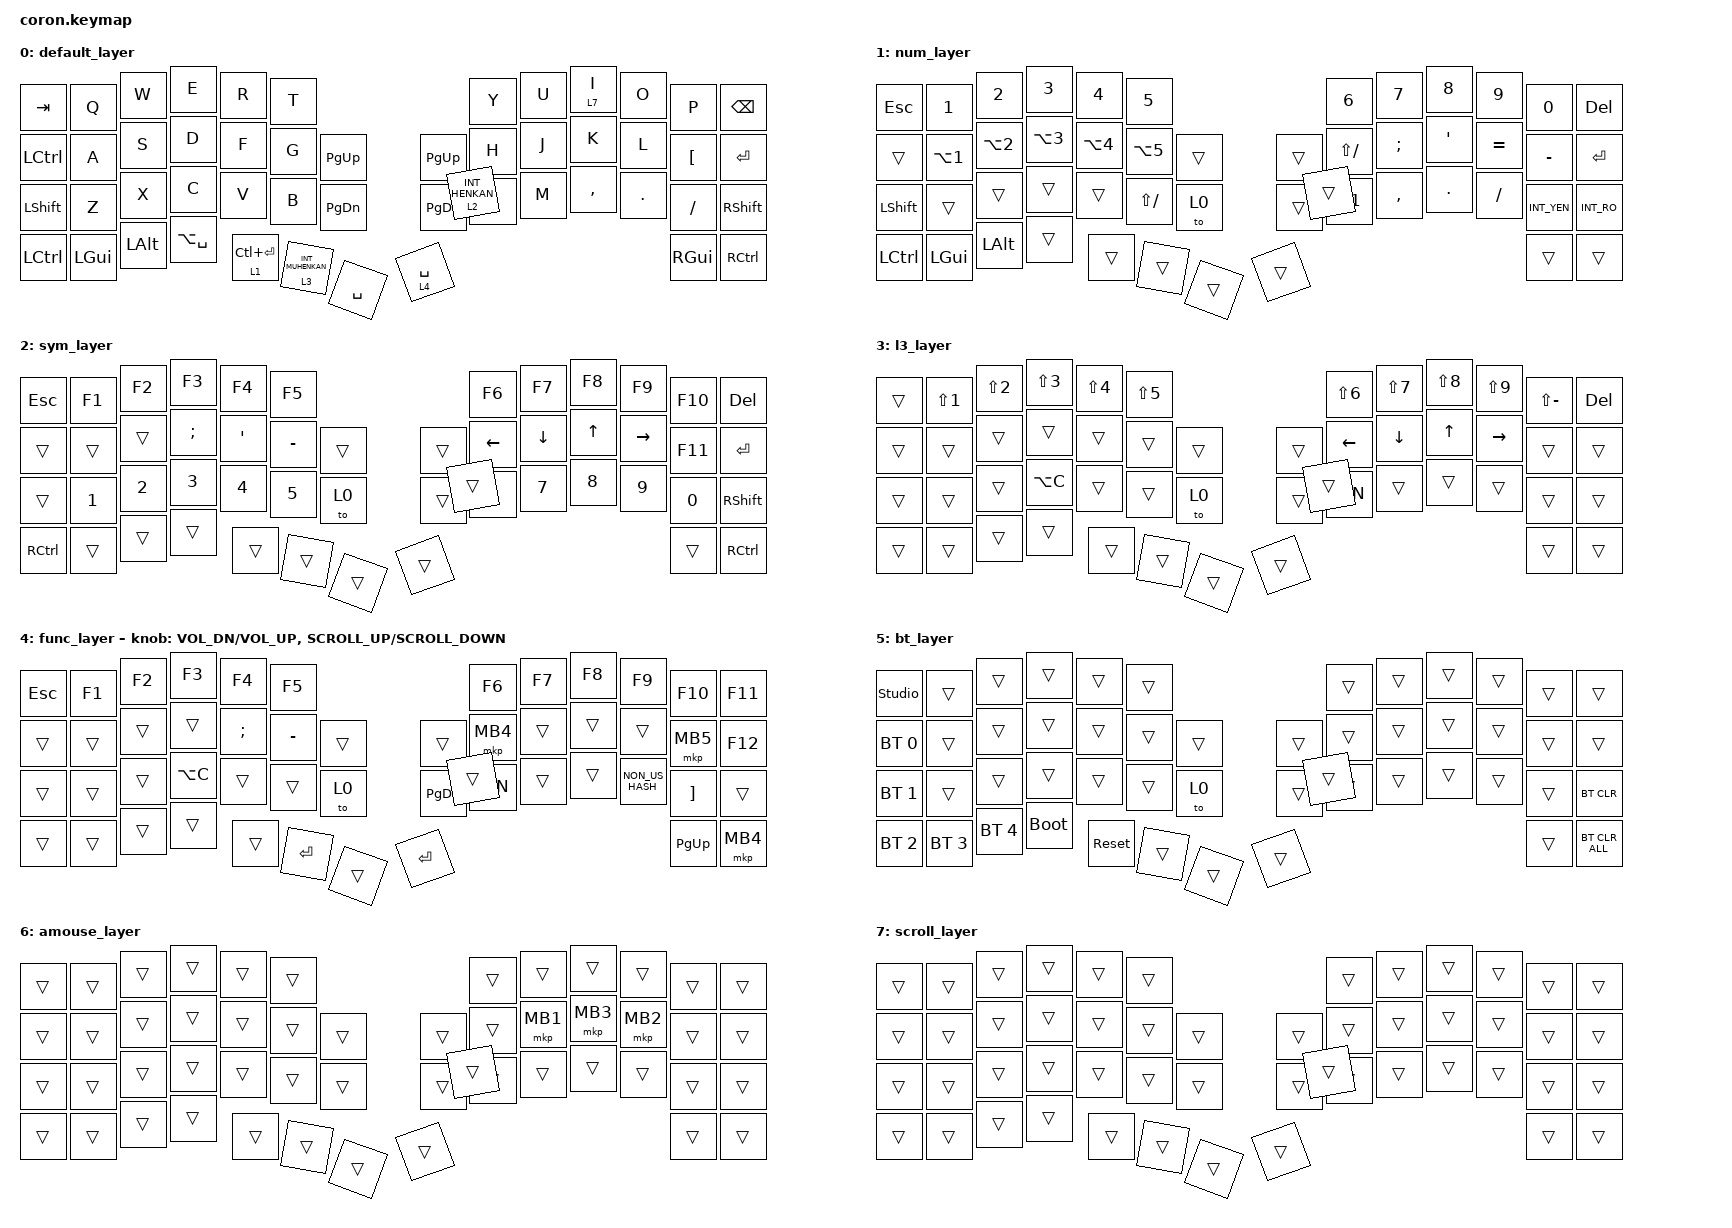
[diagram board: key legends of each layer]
/* coron.keymap — converted from Vial layout (JIS) */

#include <input/processors.dtsi>
#include <dt-bindings/zmk/input_transform.h>
#include <behaviors.dtsi>
#include <behaviors/runtime_macro.dtsi>
#include <dt-bindings/zmk/bt.h>
#include <dt-bindings/zmk/keys.h>
#include <dt-bindings/zmk/pointing.h>

#define DEF 0
#define NUM 1
#define SYM 2
#define L3  3
#define FUN 4
#define BTL 5
#define AMS 6   /* auto-mouse: trans-only + click buttons */
#define SCR 7   /* scroll passthrough: all trans */

&mt {
    flavor = "balanced";
    quick-tap-ms = <0>;
};

&lt {
    flavor = "balanced";
    quick-tap-ms = <0>;
};

/ {
    combos {
        compatible = "zmk,combos";

        /* Vial combos. Position numbering follows keymap order:
         * Row0 (12): 0..11   = NewL,L0..L4, R0..R4,NewR
         * Row1 (14): 12..25  = NewL,L0..L4,L5i, R5i,R0..R4,NewR
         * Row2 (14): 26..39  = NewL,L0..L4,L5i, R5i,R0..R4,NewR
         * Row3 (11): 40..50  = NewL,L0..L3,LthL,LthR, RthL,RthR,Rout,NewR
         */

        combo_esc {
            bindings = <&kp ESC>;
            key-positions = <0 1>;
            timeout-ms = <40>;
        };  /* TAB+Q */
        /* S+D / D+F / J+K / K+L は、無変換 (L3) か右スペース (FUN) を押している間だけ発火する。
         * &lt がコンボより先にキーを預かるので、サムキーを押した直後に押しても取りこぼさない。 */
        combo_f14 {
            bindings = <&kp F14>;
            key-positions = <14 15>;
            timeout-ms = <40>;
            layers = <L3 FUN>;
        };  /* S+D */
        combo_f13 {
            bindings = <&kp F13>;
            key-positions = <15 16>;
            timeout-ms = <40>;
            layers = <L3 FUN>;
        };  /* D+F */
        combo_minus {
            bindings = <&kp MINUS>;
            key-positions = <16 17>;
            timeout-ms = <40>;
        };  /* F+G */
        combo_f15 {
            bindings = <&kp F15>;
            key-positions = <21 22>;
            timeout-ms = <40>;
            layers = <L3 FUN>;
        };  /* J+K */
        combo_f16 {
            bindings = <&kp F16>;
            key-positions = <22 23>;
            timeout-ms = <40>;
            layers = <L3 FUN>;
        };  /* K+L */
        combo_f18 {
            bindings = <&kp F18>;
            key-positions = <29 30>;
            timeout-ms = <40>;
        };  /* C+V */
        combo_f19 {
            bindings = <&kp F19>;
            key-positions = <35 36>;
            timeout-ms = <40>;
        };  /* M+, */
        /* CoreX と同じく、無変換 (L3) か右スペース (FUN) を押している間だけ発火する（2026-11-23）。 */
        combo_f20 {
            bindings = <&kp F20>;
            key-positions = <4 5>;
            timeout-ms = <40>;
            layers = <L3 FUN>;
        };  /* R+T */
        /* CoreX の Win+Alt で Alt+Space。Coron には専用キーもあり、両方残す（リーダー、2026-11-23）。 */
        combo_alt_space {
            bindings = <&kp LA(SPACE)>;
            key-positions = <41 42>;
            timeout-ms = <40>;
        };  /* LGUI+LALT */
        combo_rshift {
            bindings = <&kp RSHFT>;
            key-positions = <38 39>;
            timeout-ms = <40>;
        };

        bluetooth {
            bindings = <&mo 5>;
            key-positions = <19 33>;
        };

        down {
            bindings = <&kp DOWN>;
            key-positions = <50 49>;
        };  /* RGUI+RCTRL（Studio で ← → から置き換え済み） */
    };

    macros {
        /* Vial M0: hold LALT, tap SPACE, release LALT */
        /* Vial M1: hold LCTRL, tap ENTER, release LCTRL */
    };

    keymap {
        compatible = "zmk,keymap";

        /* ===== Layer 0: DEFAULT (Vial layer 0) ===== */

        default_layer {
            bindings = <
&kp TAB    &kp Q     &kp W     &kp E          &kp R            &kp T               &kp Y          &kp U          &lt 7 I           &kp O     &kp P      &kp BSPC
&kp LCTRL  &kp A     &kp S     &kp D          &kp F            &kp G               &kp PAGE_UP    &kp PAGE_UP    &kp H             &kp J     &kp K      &kp L     &kp LBKT      &kp ENTER
&kp LSHFT  &kp Z     &kp X     &kp C          &kp V            &kp B               &kp PAGE_DOWN  &kp PAGE_DOWN  &kp N             &kp M     &kp COMMA  &kp DOT   &kp SLASH     &kp RSHFT
&kp LCTRL  &kp LGUI  &kp LALT  &kp LA(SPACE)  &lt 1 LC(ENTER)  &lt 3 INT_MUHENKAN  &kp SPACE      &lt 4 SPACE    &lt 2 INT_HENKAN  &kp RGUI  &kp RCTRL
            >;
        };

        /* ===== Layer 1: NUM (Vial layer 1) ===== */

        num_layer {
            bindings = <
&kp ESC    &kp N1      &kp N2      &kp N3      &kp N4      &kp N5         &kp N6  &kp N7  &kp N8         &kp N9     &kp N0   &kp DEL
&trans     &kp LA(N1)  &kp LA(N2)  &kp LA(N3)  &kp LA(N4)  &kp LA(N5)     &trans  &trans  &kp LS(SLASH)  &kp SEMI   &kp SQT  &kp EQUAL  &kp MINUS    &kp ENTER
&kp LSHFT  &trans      &trans      &trans      &trans      &kp LS(SLASH)  &to 0   &trans  &kp LS(N1)     &kp COMMA  &kp DOT  &kp SLASH  &kp INT_YEN  &kp INT_RO
&kp LCTRL  &kp LGUI    &kp LALT    &trans      &trans      &trans         &trans  &trans  &trans         &trans     &trans
            >;
        };

        /* ===== Layer 2: SYM (Vial layer 2) ===== */

        sym_layer {
            bindings = <
&kp ESC    &kp F1      &kp F2      &kp F3      &kp F4      &kp F5      &kp F6      &kp F7      &kp F8          &kp F9      &kp F10        &kp DEL
&trans     &trans      &trans      &kp SEMI    &kp SQT     &kp MINUS   &trans      &trans      &kp LEFT_ARROW  &kp DOWN    &kp UP_ARROW   &kp RIGHT  &kp F11  &kp ENTER
&trans     &kp N1      &kp N2      &kp N3      &kp N4      &kp N5      &to 0       &trans      &kp N6          &kp N7      &kp N8         &kp N9     &kp N0   &kp RSHFT
&kp RCTRL  &trans      &trans      &trans      &trans      &trans      &trans      &trans      &trans          &trans      &kp RCTRL
            >;
        };

        /* ===== Layer 3: blank (Vial layer 3) ===== */

        l3_layer {
            bindings = <
&trans  &kp LS(N1)  &kp LS(N2)  &kp LS(N3)  &kp LS(N4)  &kp LS(N5)  &kp LS(N6)  &kp LS(N7)  &kp LS(N8)  &kp LS(N9)  &kp LS(MINUS)  &kp DEL
&trans  &trans  &trans  &trans  &trans  &trans  &trans  &trans  &kp LEFT  &kp DOWN  &kp UP  &kp RIGHT  &trans  &trans
&trans  &trans  &trans  &kp LA(C)  &trans  &trans  &to 0   &trans  &kp LA(N)  &trans  &trans  &trans  &trans  &trans
&trans  &trans  &trans  &trans  &trans  &trans  &trans  &trans  &trans  &trans  &trans
            >;
        };

        /* ===== Layer 4: FUNCTION (Vial layer 4) ===== */

        func_layer {
            bindings = <
&kp ESC  &kp F1  &kp F2  &kp F3  &kp F4    &kp F5     &kp F6  &kp F7     &kp F8  &kp F9     &kp F10  &kp F11
&trans   &trans  &trans  &trans  &kp SEMI  &kp MINUS  &trans  &trans     &mkp MB4  &trans   &trans   &trans           &mkp MB5  &kp F12
&trans   &trans  &trans  &kp LA(C)  &trans    &trans     &to 0   &kp PG_DN  &kp LA(N)  &trans     &trans   &kp NON_US_HASH  &kp RBKT  &trans
&trans   &trans  &trans  &trans  &trans    &kp ENTER  &trans  &kp ENTER  &trans  &kp PG_UP  &mkp MB4
            >;

            sensor-bindings = <&inc_dec_kp C_VOL_DN C_VOL_UP &inc_dec_kp K_SCROLL_UP K_SCROLL_DOWN>;
        };

        /* ===== Layer 5: BT / system (Vial layer 9) ===== */

        bt_layer {
            bindings = <
&studio_unlock  &trans        &trans        &trans       &trans      &trans  &trans  &trans  &trans  &trans  &trans          &trans
&bt BT_SEL 0    &trans        &trans        &trans       &trans      &trans  &trans  &trans  &trans  &trans  &trans          &trans  &trans  &trans
&bt BT_SEL 1    &trans        &trans        &trans       &trans      &trans  &to 0   &trans  &trans  &trans  &trans          &trans  &trans  &bt BT_CLR
&bt BT_SEL 2    &bt BT_SEL 3  &bt BT_SEL 4  &bootloader  &sys_reset  &trans  &trans  &trans  &trans  &trans  &bt BT_CLR_ALL
            >;
        };

        /* ===== Layer 6: AMS auto-mouse (mirrors main's MOUSE layer) ===== */

        amouse_layer {
            bindings = <
&trans  &trans  &trans  &trans  &trans  &trans  &trans  &trans  &trans    &trans    &trans    &trans
&trans  &trans  &trans  &trans  &trans  &trans  &trans  &trans  &trans    &mkp MB1  &mkp MB3  &mkp MB2  &trans    &trans
&trans  &trans  &trans  &trans  &trans  &trans  &trans  &trans  &trans    &trans    &trans    &trans    &trans    &trans
&trans  &trans  &trans  &trans  &trans  &trans  &trans  &trans  &trans    &trans    &trans
            >;
        };

        /* ===== Layer 7: SCR scroll passthrough (all trans) ===== */

        scroll_layer {
            bindings = <
&trans  &trans  &trans  &trans  &trans  &trans  &trans  &trans  &trans  &trans  &trans  &trans
&trans  &trans  &trans  &trans  &trans  &trans  &trans  &trans  &trans  &trans  &trans  &trans  &trans  &trans
&trans  &trans  &trans  &trans  &trans  &trans  &trans  &trans  &trans  &trans  &trans  &trans  &trans  &trans
&trans  &trans  &trans  &trans  &trans  &trans  &trans  &trans  &trans  &trans  &trans
            >;
        };
    };
};
